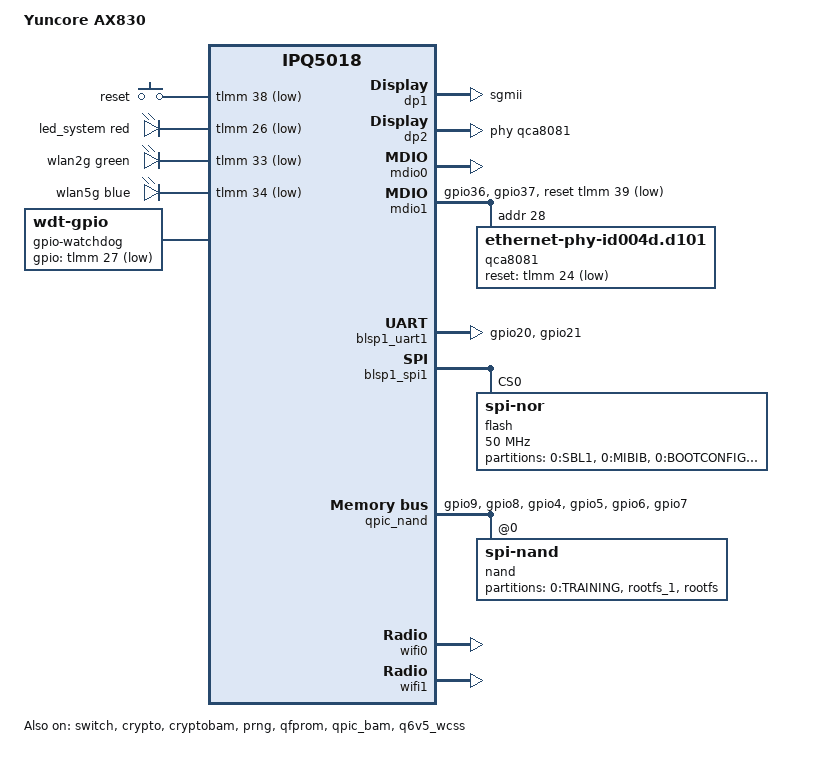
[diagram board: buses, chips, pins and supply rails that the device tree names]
// SPDX-License-Identifier: GPL-2.0-or-later OR MIT
/*
 * Copyright (c) 2025, Shubham Vishwakarma <shubhamvis98@fossfrog.in>
 */

/dts-v1/;

#include "ipq5018.dtsi"
#include "ipq5018-ess.dtsi"

#include <dt-bindings/gpio/gpio.h>
#include <dt-bindings/input/input.h>
#include <dt-bindings/leds/common.h>

/ {
	model = "Yuncore AX830";
	compatible = "yuncore,ax830", "qcom,ipq5018";

	aliases {
		serial0 = &blsp1_uart1;
		led-boot = &led_system;
		led-failsafe = &led_system;
		led-running = &led_system;
		led-upgrade = &led_system;
	};

	chosen {
		bootargs-append = " root=/dev/ubiblock0_1 swiotlb=1 coherent_pool=2M";
		stdout-path = "serial0:115200n8";
	};

	keys {
		compatible = "gpio-keys";
		pinctrl-0 = <&button_pins>;
		pinctrl-names = "default";

		reset {
			label = "reset";
			gpios = <&tlmm 38 GPIO_ACTIVE_LOW>;
			linux,code = <KEY_RESTART>;
		};
	};

	leds {
		compatible = "gpio-leds";

		led_system: system {
			color = <LED_COLOR_ID_RED>;
			gpios = <&tlmm 26 GPIO_ACTIVE_LOW>;
			default-status = "on";
		};

		wlan2g {
			color = <LED_COLOR_ID_GREEN>;
			gpios = <&tlmm 33 GPIO_ACTIVE_LOW>;
			default-status = "on";
		};

		wlan5g {
			color = <LED_COLOR_ID_BLUE>;
			gpios = <&tlmm 34 GPIO_ACTIVE_LOW>;
			default-status = "on";
		};
	};

	reserved-memory {
		q6_mem_regions: q6_mem_regions@4b000000 {
			no-map;
			reg = <0x0 0x4b000000 0x0 0x3000000>;
		};
	};

	gpio-watchdog {
		compatible = "linux,wdt-gpio";
		gpios = <&tlmm 27 GPIO_ACTIVE_LOW>;
		hw_algo = "toggle";
		hw_margin_ms = <5000>;
		always-running;
	};
};

&switch {
	status = "okay";

	switch_mac_mode = <MAC_MODE_SGMII_CHANNEL0>;

	qcom,port_phyinfo {
		// MAC0 -> GE Phy
		port@0 {
			port_id = <1>;
			mdiobus = <&mdio0>;
			phy_address = <7>;
		};

		// MAC1 -> Uniphy --- SGMII --- QCA8081
		port@1 {
			port_id = <2>;
			mdiobus = <&mdio1>;
			phy_address = <28>;
			port_mac_sel = "QGMAC_PORT";
		};
	};
};

// MAC0 -> GE Phy
&dp1 {
	status = "okay";

	label = "lan";
	nvmem-cells = <&hw_mac_addr 0>;
	nvmem-cell-names = "mac-address";
	phy-mode = "sgmii";
};

// MAC1 ---SGMII---> QCA8081
&dp2 {
	status = "okay";

	label = "wan";
	phy-handle = <&qca8081>;
	nvmem-cells = <&hw_mac_addr 1>;
	nvmem-cell-names = "mac-address";
};

&mdio0 {
	status = "okay";
};

&mdio1 {
	status = "okay";

	pinctrl-0 = <&mdio1_pins>;
	pinctrl-names = "default";
	reset-gpios = <&tlmm 39 GPIO_ACTIVE_LOW>;

	qca8081: ethernet-phy@28 {
		compatible = "ethernet-phy-id004d.d101";
		reg = <28>;
		reset-deassert-us = <10000>;
		reset-gpios = <&tlmm 24 GPIO_ACTIVE_LOW>;
	};
};

&sleep_clk {
	clock-frequency = <32000>;
};

&xo_board_clk {
	clock-frequency = <24000000>;
};

&blsp1_uart1 {
	status = "okay";
	pinctrl-0 = <&serial_0_pins>;
	pinctrl-names = "default";
};

&crypto {
	status = "okay";
};

&cryptobam {
	status = "okay";
};

&prng {
	status = "okay";
};

&qfprom {
	status = "okay";
};

&qpic_bam {
	status = "okay";
};

&blsp1_spi1 {
	status = "okay";

	flash@0 {
		#address-cells = <1>;
		#size-cells = <1>;
		reg = <0>;
		compatible = "jedec,spi-nor";
		spi-max-frequency = <50000000>;

		partitions {
			compatible = "fixed-partitions";
			#address-cells = <1>;
			#size-cells = <1>;

			partition@0 {
				label = "0:SBL1";
				reg = <0x00 0x30000>;
				read-only;
			};

			partition@30000 {
				label = "0:MIBIB";
				reg = <0x30000 0x10000>;
				read-only;
			};

			partition@40000 {
				label = "0:BOOTCONFIG";
				reg = <0x40000 0x10000>;
				read-only;
			};

			partition@50000 {
				label = "0:BOOTCONFIG1";
				reg = <0x50000 0x10000>;
				read-only;
			};

			partition@60000 {
				label = "0:QSEE";
				reg = <0x60000 0xa0000>;
				read-only;
			};

			partition@100000 {
				label = "0:QSEE_1";
				reg = <0x100000 0xa0000>;
				read-only;
			};

			partition@1a0000 {
				label = "0:DEVCFG";
				reg = <0x1a0000 0x10000>;
				read-only;
			};

			partition@1b0000 {
				label = "0:DEVCFG_1";
				reg = <0x1b0000 0x10000>;
				read-only;
			};

			partition@1c0000 {
				label = "0:CDT";
				reg = <0x1c0000 0x10000>;
				read-only;
			};

			partition@1d0000 {
				label = "0:CDT_1";
				reg = <0x1d0000 0x10000>;
				read-only;
			};

			partition@1e0000 {
				label = "0:APPSBLENV";
				reg = <0x1e0000 0x10000>;
			};

			partition@1f0000 {
				label = "0:APPSBL";
				reg = <0x1f0000 0xa0000>;
				read-only;
			};

			partition@290000 {
				label = "0:APPSBL_1";
				reg = <0x290000 0xa0000>;
				read-only;
			};

			partition@330000 {
				label = "0:ART";
				reg = <0x330000 0x70000>;
				read-only;

				nvmem-layout {
					compatible = "fixed-layout";
					#address-cells = <1>;
					#size-cells = <1>;

					hw_mac_addr: hw_mac_addr {
						#nvmem-cell-cells = <1>;
						compatible = "mac-base";
						reg = <0x0 0x6>;
					};
				};
			};
		};
	};
};

&qpic_nand {
	pinctrl-0 = <&qpic_pins>;
	pinctrl-names = "default";
	status = "okay";

	partitions {
		status = "disabled";
	};

	nand@0 {
		compatible = "spi-nand";
		reg = <0>;
		#address-cells = <1>;
		#size-cells = <1>;

		nand-ecc-engine = <&qpic_nand>;

		nand-ecc-strength = <4>;
		nand-ecc-step-size = <512>;
		nand-bus-width = <8>;

		partitions {
			compatible = "fixed-partitions";
			#address-cells = <1>;
			#size-cells = <1>;

			partition@0 {
				label = "0:TRAINING";
				reg = <0x00 0x80000>;
			};

			partition@80000 {
				label = "rootfs_1";
				reg = <0x80000 0x3e00000>;
			};

			partition@3e80000 {
				label = "rootfs";
				reg = <0x3e80000 0x3e00000>;
			};
		};
	};
};

&tlmm {
	button_pins: button-state {
		pins = "gpio38";
		function = "gpio";
		drive-strength = <8>;
		bias-pull-up;
	};

	mdio1_pins: mdio-state {
		mdc-pins {
			pins = "gpio36";
			function = "mdc";
			drive-strength = <8>;
			bias-pull-up;
		};

		mdio-pins {
			pins = "gpio37";
			function = "mdio";
			drive-strength = <8>;
			bias-pull-up;
		};
	};

	qpic_pins: qpic-state {

		clock-pins {
			pins = "gpio9";
			function = "qspi_clk";
			drive-strength = <8>;
			bias-disable;
		};

		cs-pins {
			pins = "gpio8";
			function = "qspi_cs";
			drive-strength = <8>;
			bias-disable;
		};

		data-pins {
			pins = "gpio4", "gpio5", "gpio6", "gpio7";
			function = "qspi_data";
			drive-strength = <8>;
			bias-disable;
		};
	};

	serial_0_pins: uart0-state {
		pins = "gpio20", "gpio21";
		function = "blsp0_uart0";
		drive-strength = <8>;
		bias-disable;
	};
};

&tsens {
	status = "okay ";
};

&q6v5_wcss {
	status = "okay";

	memory-region = <&q6_mem_regions>;
	firmware-name = "ath11k/IPQ5018/hw1.0/q6_fw.mdt",
			"ath11k/IPQ5018/hw1.0/m3_fw.mdt",
			"ath11k/QCN6122/hw1.0/m3_fw.mdt";

	// IPQ5018
	q6_wcss_pd1: pd-1 {
		firmware-name = "ath11k/IPQ5018/hw1.0/q6_fw.mdt";

		resets =
			<&gcc GCC_WCSSAON_RESET>,
			<&gcc GCC_WCSS_BCR>,
			<&gcc GCC_CE_BCR>;
		reset-names =
			"wcss_aon_reset",
			"wcss_reset",
			"ce_reset";

		clocks =
			<&gcc GCC_WCSS_AHB_S_CLK>,
			<&gcc GCC_WCSS_ACMT_CLK>,
			<&gcc GCC_WCSS_AXI_M_CLK>;
		clock-names =
			"gcc_wcss_ahb_s_clk",
			"gcc_wcss_acmt_clk",
			"gcc_wcss_axi_m_clk";

		interrupts-extended =
			<&wcss_smp2p_in 8 IRQ_TYPE_NONE>,
			<&wcss_smp2p_in 9 IRQ_TYPE_NONE>,
			<&wcss_smp2p_in 12 IRQ_TYPE_NONE>,
			<&wcss_smp2p_in 11 IRQ_TYPE_NONE>;
		interrupt-names =
			"fatal",
			"ready",
			"spawn-ack",
			"stop-ack";

		qcom,smem-states =
			<&wcss_smp2p_out 8>,
			<&wcss_smp2p_out 9>,
			<&wcss_smp2p_out 10>;
		qcom,smem-state-names =
			"shutdown",
			"stop",
			"spawn";
	};

	// QCN6122 5G
	q6_wcss_pd3: pd-3 {
		firmware-name = "ath11k/IPQ5018/hw1.0/q6_fw.mdt";

		interrupts-extended =
			<&wcss_smp2p_in 24 IRQ_TYPE_NONE>,
			<&wcss_smp2p_in 25 IRQ_TYPE_NONE>,
			<&wcss_smp2p_in 28 IRQ_TYPE_NONE>,
			<&wcss_smp2p_in 27 IRQ_TYPE_NONE>;
		interrupt-names =
			"fatal",
			"ready",
			"spawn-ack",
			"stop-ack";

		qcom,smem-states =
			<&wcss_smp2p_out 24>,
			<&wcss_smp2p_out 25>,
			<&wcss_smp2p_out 26>;
		qcom,smem-state-names =
			"shutdown",
			"stop",
			"spawn";
	};
};

&wifi0 {
	// IPQ5018
	status = "okay";
	qcom,rproc = <&q6_wcss_pd1>;
	qcom,userpd-subsys-name = "q6v5_wcss_userpd1";
	qcom,ath11k-calibration-variant = "Yuncore-AX830";
	qcom,ath11k-fw-memory-mode = <2>;
	qcom,bdf-addr = <0x4c400000>;
};

&wifi1 {
	// QCN6122 5G
	status = "okay";
	qcom,rproc = <&q6_wcss_pd3>;
	qcom,userpd-subsys-name = "q6v5_wcss_userpd3";
	qcom,ath11k-calibration-variant = "Yuncore-AX830";
	qcom,ath11k-fw-memory-mode = <2>;
	qcom,bdf-addr = <0x4d100000>;
	qcom,m3-dump-addr = <0x4df00000>;
};
